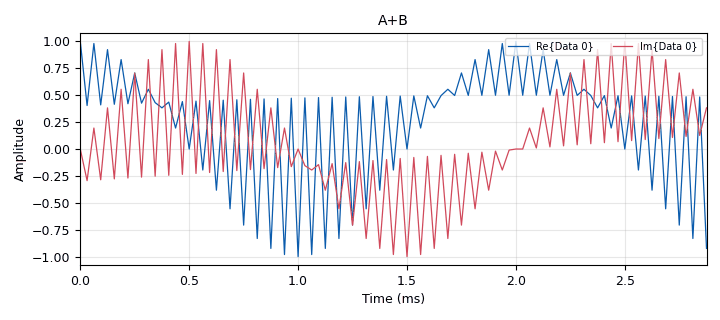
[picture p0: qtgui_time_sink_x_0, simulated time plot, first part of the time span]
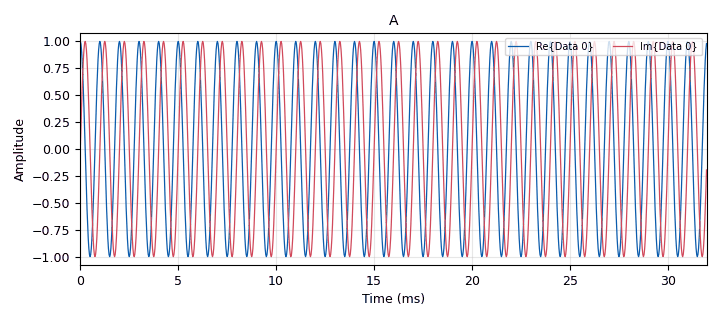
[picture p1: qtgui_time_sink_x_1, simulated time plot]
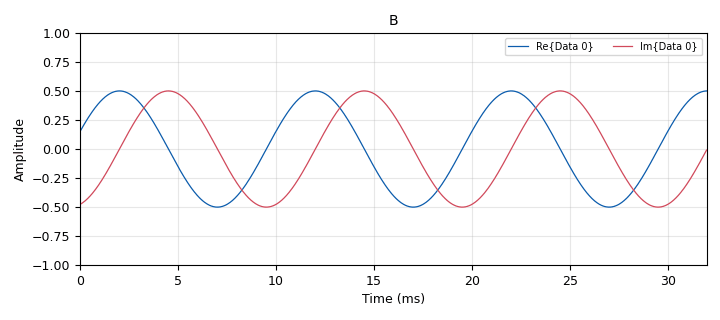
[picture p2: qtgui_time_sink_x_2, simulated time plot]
options:
  parameters:
    author: abc
    generate_options: qt_gui
    id: text3_stream_to_vector
    output_language: python
    title: stream to vector
  states: {}

blocks:
- name: samp_rate
  id: variable
  parameters:
    value: '32000'
  states: {}
- name: analog_sig_source_x_0
  id: analog_sig_source_x
  parameters:
    amp: '1'
    freq: '1000'
    offset: '0'
    phase: '0'
    samp_rate: samp_rate
    type: complex
    waveform: analog.GR_COS_WAVE
  states: {}
- name: analog_sig_source_x_0_0
  id: analog_sig_source_x
  parameters:
    amp: '0.5'
    freq: '100'
    offset: '0'
    phase: '0'
    samp_rate: samp_rate
    type: complex
    waveform: analog.GR_COS_WAVE
  states: {}
- name: blocks_streams_to_vector_0
  id: blocks_streams_to_vector
  parameters:
    type: complex
  states: {}
- name: blocks_vector_to_stream_0
  id: blocks_vector_to_stream
  parameters:
    type: complex
  states: {}
- name: blocks_vector_to_streams_0
  id: blocks_vector_to_streams
  parameters:
    type: complex
  states: {}
- name: qtgui_time_sink_x_0
  id: qtgui_time_sink_x
  parameters:
    name: A+B
    size: '1024'
    srate: samp_rate
    type: complex
  states: {}
- name: qtgui_time_sink_x_1
  id: qtgui_time_sink_x
  parameters:
    name: A
    size: '1024'
    srate: samp_rate
    type: complex
  states: {}
- name: qtgui_time_sink_x_2
  id: qtgui_time_sink_x
  parameters:
    name: B
    size: '1024'
    srate: samp_rate
    type: complex
  states: {}

connections:
- [analog_sig_source_x_0, '0', blocks_streams_to_vector_0, '0']
- [analog_sig_source_x_0_0, '0', blocks_streams_to_vector_0, '1']
- [blocks_streams_to_vector_0, '0', blocks_vector_to_stream_0, '0']
- [blocks_streams_to_vector_0, '0', blocks_vector_to_streams_0, '0']
- [blocks_vector_to_stream_0, '0', qtgui_time_sink_x_0, '0']
- [blocks_vector_to_streams_0, '0', qtgui_time_sink_x_1, '0']
- [blocks_vector_to_streams_0, '1', qtgui_time_sink_x_2, '0']

metadata:
  file_format: 1
  grc_version: 3.10.12.0
